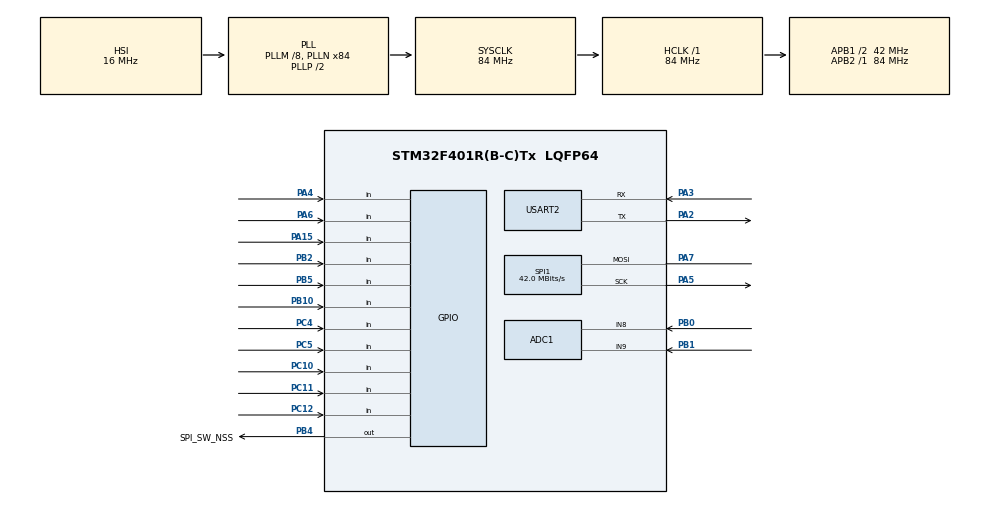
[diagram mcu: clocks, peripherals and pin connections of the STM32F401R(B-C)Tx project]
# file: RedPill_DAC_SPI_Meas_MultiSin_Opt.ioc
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ADC1.Channel-1\#ChannelRegularConversion=ADC_CHANNEL_8
ADC1.Channel-2\#ChannelRegularConversion=ADC_CHANNEL_9
ADC1.ClockPrescaler=ADC_CLOCK_SYNC_PCLK_DIV4
ADC1.DMAContinuousRequests=ENABLE
ADC1.ExternalTrigConv=ADC_EXTERNALTRIGCONV_T3_TRGO
ADC1.NbrOfConversion=2
ADC1.NbrOfConversionFlag=1
ADC1.Rank-1\#ChannelRegularConversion=1
ADC1.Rank-2\#ChannelRegularConversion=2
ADC1.SamplingTime-1\#ChannelRegularConversion=ADC_SAMPLETIME_3CYCLES
ADC1.SamplingTime-2\#ChannelRegularConversion=ADC_SAMPLETIME_3CYCLES
ADC1.ScanConvMode=ENABLE
ADC1.master=1
Dma.ADC1.0.Direction=DMA_PERIPH_TO_MEMORY
Dma.ADC1.0.FIFOMode=DMA_FIFOMODE_DISABLE
Dma.ADC1.0.Instance=DMA2_Stream4
Dma.ADC1.0.MemDataAlignment=DMA_MDATAALIGN_WORD
Dma.ADC1.0.MemInc=DMA_MINC_ENABLE
Dma.ADC1.0.Mode=DMA_CIRCULAR
Dma.ADC1.0.PeriphDataAlignment=DMA_PDATAALIGN_WORD
Dma.ADC1.0.PeriphInc=DMA_PINC_DISABLE
Dma.ADC1.0.Priority=DMA_PRIORITY_HIGH
Dma.Request0=ADC1
Mcu.Family=STM32F4
Mcu.Name=STM32F401R(B-C)Tx
Mcu.Package=LQFP64
NVIC.DMA2_Stream4_IRQn=true\:1\:0\:true\:false\:true\:false\:true\:true
NVIC.PriorityGroup=NVIC_PRIORITYGROUP_4
NVIC.SPI1_IRQn=true\:3\:0\:true\:false\:true\:true\:true\:true
NVIC.TIM2_IRQn=true\:4\:0\:true\:false\:true\:true\:true\:true
PA13.Mode=Serial_Wire
PA13.Signal=SYS_JTMS-SWDIO
PA14.Mode=Serial_Wire
PA14.Signal=SYS_JTCK-SWCLK
PA15.GPIO_PuPd=GPIO_NOPULL
PA15.Signal=GPIO_Input
PA2.Mode=Asynchronous
PA2.Signal=USART2_TX
PA3.Mode=Asynchronous
PA3.Signal=USART2_RX
PA4.Signal=GPIO_Input
PA5.Mode=Simplex_Bidirectional_Master
PA5.Signal=SPI1_SCK
PA6.Signal=GPIO_Input
PA7.Mode=Simplex_Bidirectional_Master
PA7.Signal=SPI1_MOSI
PB0.Signal=ADCx_IN8
PB1.Signal=ADCx_IN9
PB10.Signal=GPIO_Input
PB2.Signal=GPIO_Input
PB4.GPIO_Label=SPI_SW_NSS
PB4.GPIO_Speed=GPIO_SPEED_FREQ_LOW
PB4.Signal=GPIO_Output
PB5.Signal=GPIO_Input
PC10.GPIO_PuPd=GPIO_NOPULL
PC10.Signal=GPIO_Input
PC11.Signal=GPIO_Input
PC12.Signal=GPIO_Input
PC4.Signal=GPIO_Input
PC5.Signal=GPIO_Input
PH0\ -\ OSC_IN.Mode=HSE-External-Oscillator
PH0\ -\ OSC_IN.Signal=RCC_OSC_IN
PH1\ -\ OSC_OUT.Mode=HSE-External-Oscillator
PH1\ -\ OSC_OUT.Signal=RCC_OSC_OUT
ProjectManager.HeapSize=0x200
ProjectManager.StackSize=0x400
ProjectManager.TargetToolchain=EWARM V8.50
RCC.48MHZClocksFreq_Value=42000000
RCC.AHBFreq_Value=84000000
RCC.APB1CLKDivider=RCC_HCLK_DIV2
RCC.APB1Freq_Value=42000000
RCC.APB1TimFreq_Value=84000000
RCC.APB2Freq_Value=84000000
RCC.APB2TimFreq_Value=84000000
RCC.CortexFreq_Value=84000000
RCC.HCLKFreq_Value=84000000
RCC.HSE_VALUE=16000000
RCC.HSI_VALUE=16000000
RCC.LSE_VALUE=32768
RCC.PLLM=8
RCC.PLLN=84
RCC.SYSCLKFreq_VALUE=84000000
RCC.SYSCLKSource=RCC_SYSCLKSOURCE_PLLCLK
RCC.VCOOutputFreq_Value=168000000
SH.ADCx_IN8.0=ADC1_IN8,IN8
SH.ADCx_IN9.0=ADC1_IN9,IN9
SPI1.BaudRatePrescaler=SPI_BAUDRATEPRESCALER_2
SPI1.CLKPolarity=SPI_POLARITY_HIGH
SPI1.CalculateBaudRate=42.0 MBits/s
SPI1.DataSize=SPI_DATASIZE_8BIT
SPI1.Direction=SPI_DIRECTION_1LINE
SPI1.Mode=SPI_MODE_MASTER
SPI1.TIMode=SPI_TIMODE_DISABLE
SPI1.VirtualType=VM_MASTER
STMicroelectronics.X-CUBE-ALGOBUILD.1.3.0.LibraryCcDSPOoLibraryJjDSPOoLibrary=true
TIM2.ClockDivision=TIM_CLOCKDIVISION_DIV1
TIM2.Period=0
TIM2.Prescaler=21
TIM3.ClockDivision=TIM_CLOCKDIVISION_DIV1
TIM3.Period=99
TIM3.Prescaler=83
TIM3.TIM_MasterOutputTrigger=TIM_TRGO_UPDATE
USART2.VirtualMode=VM_ASYNC
VP_STMicroelectronics.X-CUBE-ALGOBUILD_VS_DSPOoLibraryJjLibrary_1.3.0_1.3.0.Mode=DSPOoLibraryJjLibrary
VP_TIM2_VS_ClockSourceINT.Mode=Internal
VP_TIM3_VS_ClockSourceINT.Mode=Internal
board=custom

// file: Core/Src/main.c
/* USER CODE BEGIN Header */
/**
  ******************************************************************************
  * @file           : main.c
  * @brief          : Main program body
  ******************************************************************************
  * @attention
  *
  * Copyright (c) 2024 STMicroelectronics.
  * All rights reserved.
  *
  * This software is licensed under terms that can be found in the LICENSE file
  * in the root directory of this software component.
  * If no LICENSE file comes with this software, it is provided AS-IS.
  *
  ******************************************************************************
  */
/* USER CODE END Header */
#include "main.h"

/* USER CODE BEGIN Includes */
#include "stdio.h"
#include "arm_math.h"
/* USER CODE END Includes */

/* USER CODE BEGIN PTD */

typedef struct
{
    GPIO_TypeDef* DacCsPort;
	uint16_t DacCsPin;
	SPI_HandleTypeDef *spi_port;
	uint32_t spi_clock_speed;
} DAC_Handle;

/* USER CODE END PTD */

/* USER CODE BEGIN PD */

/* ADC Defines */
#define VREF         (3.3)
#define ADC_MAX_RESULT  ((1 << 12)) // 10 bit ADC

/* Global Defines */
#define REF_RESISTANCE   (1000.0L)

/* LSM Defines */
#define NUM_OF_SAMPLES   (450U)
#define NUM_LSM_PARAMS   (5U)

/* FFT Defines */
#define FFT_BUFFER_SIZE   (2048U)

/* DAC register defines begin */
#define REG4_DIVGAIN  ((uint8_t)0x04)
#define REG5_RESET    ((uint8_t)0x05)
#define REG8_DAC      ((uint8_t)0x08)
#define REG3_CON      ((uint8_t)0x03)
#define REG2_SYNC     ((uint8_t)0x02)

#define SET5_RESET_1 ((uint8_t)0x0A)
#define SET5_RESET_2 ((uint8_t)0x00)

#define SET3_CON_1 ((uint8_t)0x00)
#define SET3_CON_2 ((uint8_t)0x01)

#define SET2_SYNC_1 ((uint8_t)0x00)
#define SET2_SYNC_2 ((uint8_t)0x00)

#define SET4_GAIN1 ((uint8_t)0x00)
#define SET4_GAIN2 ((uint8_t)0x01)
#define SET4_DIV1  ((uint8_t)0x00)
#define SET4_DIV2  ((uint8_t)0x01)
/* DAC register defines end */

/* DAC config defines begin */
#define NUM_OF_SAMPLES_DAC ((uint16_t)1000)
#define SPI_TIMEOUT        (10U)
#define MCU_CLOCK          (84000000U)
/* DAC config defines end */

/* USER CODE END PD */

/* USER CODE BEGIN PM */

enum ImpedanceType {
  LR_SERIES,
  LR_PARALLEL,
  CR_SERIES,
  CR_PARALLEL
};

/* USER CODE END PM */

ADC_HandleTypeDef hadc1;
DMA_HandleTypeDef hdma_adc1;

SPI_HandleTypeDef hspi1;

TIM_HandleTypeDef htim2;
TIM_HandleTypeDef htim3;

UART_HandleTypeDef huart2;

/* USER CODE BEGIN PV */

/* DAC variables */
DAC_Handle dacHandle;

/* Defs to variables, Configuring DAC */
uint8_t dacResetRegData[3] = {REG5_RESET,SET5_RESET_2,SET5_RESET_1}; // Fix
uint8_t dacDivGainRegData[3] = {REG4_DIVGAIN,SET4_DIV2,SET4_GAIN2}; // Can be set
uint8_t dacConfigRefRegData[3] = {REG3_CON,SET3_CON_2,SET3_CON_1}; // Fix
uint8_t dacSyncRegData[3] = {REG2_SYNC,SET2_SYNC_2,SET2_SYNC_1}; // Fix
/* DAC config variables end */

/* Data to send - Multisine: 1 Hz (0.7/2 V)+ 10 Hz (0.3/2 V)*/

uint8_t sinBuffer[2*NUM_OF_SAMPLES_DAC] = {
#include "dacMultiSine.txt"
};

volatile uint8_t sinBufferTemp[3] = {REG8_DAC,0x00,0x00};
volatile uint8_t sinBufferSwitch = 0;
volatile uint16_t sinCounter = 0;
volatile uint8_t sinDataCounter = 0;
/* Signal generation variables end */

/* Measurement variables begin */
// LSM matrices
float32_t mat_DT[NUM_LSM_PARAMS][NUM_OF_SAMPLES]; //calculating
float32_t mat_DT_D[NUM_LSM_PARAMS][NUM_LSM_PARAMS]; //calculating
float32_t mat_DT_D_inv[NUM_LSM_PARAMS][NUM_LSM_PARAMS]; //calculating
float32_t vect_ref_sig[NUM_OF_SAMPLES][1];
float32_t vect_input_sig[NUM_OF_SAMPLES][1];
float32_t vect_ref_lsm[NUM_LSM_PARAMS][1];
float32_t vect_input_lsm[NUM_LSM_PARAMS][1];
float32_t lsm_temp[NUM_LSM_PARAMS][1];

arm_matrix_instance_f32 mat_DT_instance; //calculating
arm_matrix_instance_f32 mat_DT_D_instance; //calculating
arm_matrix_instance_f32 mat_DT_D_inv_instance; //calculating
arm_matrix_instance_f32 vect_ref_instance;
arm_matrix_instance_f32 vect_input_instance;
arm_matrix_instance_f32 vect_ref_lsm_instance;
arm_matrix_instance_f32 vect_input_lsm_instance;
arm_matrix_instance_f32 lsm_temp_instance;

arm_status arm_mult_ref;
arm_status arm_mult_input;
arm_status arm_inverse;

// LSM result - For two sines
float32_t ref_sig_amp_1 = 0;
float32_t input_sig_amp_1 = 0;
float32_t ref_sig_phase_1 = 0;
float32_t input_sig_phase_1 = 0;

float32_t ref_sig_amp_2 = 0;
float32_t input_sig_amp_2 = 0;
float32_t ref_sig_phase_2 = 0;
float32_t input_sig_phase_2 = 0;

// ADC variables
uint32_t adc_values[NUM_OF_SAMPLES * 2];
volatile uint8_t ADC_FLAG_STATE_FSM = 0;

// Calculated variables - for two sines
float32_t phaseShift_1 = (0UL);
float32_t realImp_1 = (0UL);
float32_t imagImp_1 = (0UL);
float32_t absImp_1 = (0UL);
float32_t impedance_sig_amp_1 = 0;
float32_t impedance_sig_phase_1 = 0;

float32_t phaseShift_2 = (0UL);
float32_t realImp_2 = (0UL);
float32_t imagImp_2 = (0UL);
float32_t absImp_2 = (0UL);
float32_t impedance_sig_amp_2 = 0;
float32_t impedance_sig_phase_2 = 0;
float32_t resistance_1 = 0.0;
float32_t reactance_1 = 0.0;
float32_t resistance_2 = 0.0;
float32_t reactance_2 = 0.0;

// FFT variables
arm_rfft_fast_instance_f32 fftHandler;
uint32_t fftBuffIn[FFT_BUFFER_SIZE*2];
float32_t fftBuffInVolts[FFT_BUFFER_SIZE*2];
float32_t fftBuffOut[FFT_BUFFER_SIZE];
float32_t fftBuffAbs[FFT_BUFFER_SIZE/2];
float32_t peakVal = 0.0f;
uint16_t peakHz = 0;
float32_t peakHzCorrected = 0.0;

uint16_t freqIndex = 0;
uint16_t freqIndexPeak_1 = 0;
uint16_t freqIndexPeak_2 = 0;
uint16_t k = 0;
float32_t curVal = 0;
float32_t delta = 0;
uint8_t FFT_FLAG = 1;

float32_t SIGNAL_FREQ_1 = 15.0;
float32_t SIGNAL_FREQ_2 = 15.0;
uint32_t SAMPLING_FREQ = 0; // --> Should be set properly, according to the CubeMX settings!!!

/* Measurement variables end */

/* Config variables begin */
uint8_t send_serial = 1; // send on serial or not
volatile uint8_t  send_data = 0;
uint16_t data_ind = 0; // insted of i in main for loop, to live watch
enum ImpedanceType imp_type = CR_SERIES;
/* Config variables end */

/* USER CODE END PV */

void SystemClock_Config(void);
static void MX_GPIO_Init(void);
static void MX_DMA_Init(void);
static void MX_SPI1_Init(void);
static void MX_ADC1_Init(void);
static void MX_TIM3_Init(void);
static void MX_TIM2_Init(void);
static void MX_USART2_UART_Init(void);
/* USER CODE BEGIN PFP */

void dacBegin(DAC_Handle *dac, SPI_HandleTypeDef *port, GPIO_TypeDef* cs_port, uint16_t cs_pin, uint32_t cspeed);
void writeREG(DAC_Handle *dac, uint8_t *command);
void writeDAC(DAC_Handle *dac, uint8_t *data);
void setClockSpeed(DAC_Handle *dac, uint32_t cspeed);

/* USER CODE END PFP */

/* USER CODE BEGIN 0 */

/* Redirect printf to UASRT2, redefine __write */
size_t __write_own(int handle, const unsigned char * buffer, size_t size)
{
  size_t nChars = 0;

  if (buffer == 0)
  {
    /*
     * This means that we should flush internal buffers.  Since we
     * don't we just return.  (Remember, "handle" == -1 means that all
     * handles should be flushed.)
     */
    return 0;
  }

  for (/* Empty */; size != 0; --size)
  {
    HAL_UART_Transmit(&huart2, (uint8_t*) (buffer), 1, HAL_MAX_DELAY);
    buffer++;
    ++nChars;
  }

  return nChars;

}

/* DAC handling functions begin*/
void dacBegin(DAC_Handle *dac, SPI_HandleTypeDef *port, GPIO_TypeDef* cs_port, uint16_t cs_pin, uint32_t cspeed)
{
  dac->DacCsPort = cs_port;
  dac->DacCsPin = cs_pin;
  dac->spi_port = port;
  dac->spi_clock_speed = cspeed;
}

void setClockSpeed(DAC_Handle *dac, uint32_t cspeed)
{
	dac->spi_clock_speed = cspeed;
}

void writeREG(DAC_Handle *dac, uint8_t* command)
{
	HAL_GPIO_WritePin(dac->DacCsPort, dac->DacCsPin, GPIO_PIN_SET); //SW NSS
        HAL_Delay(1);
  	HAL_GPIO_WritePin(dac->DacCsPort, dac->DacCsPin, GPIO_PIN_RESET); //SW NSS
  	while(HAL_SPI_GetState(dac->spi_port) != HAL_SPI_STATE_READY){}
  	HAL_SPI_Transmit(dac->spi_port, (uint8_t*) (command), 3, SPI_TIMEOUT);
        HAL_Delay(1);
  	HAL_GPIO_WritePin(dac->DacCsPort, dac->DacCsPin, GPIO_PIN_SET); //SW NSS
}

void writeDAC(DAC_Handle *dac, uint8_t* data)
{
	while(HAL_SPI_GetState(dac->spi_port) != HAL_SPI_STATE_READY){}
        HAL_GPIO_WritePin(dac->DacCsPort, dac->DacCsPin, GPIO_PIN_RESET); //SW NSS
        HAL_SPI_Transmit(dac->spi_port, (uint8_t*) (data), 3, SPI_TIMEOUT);
        HAL_GPIO_WritePin(dac->DacCsPort, dac->DacCsPin, GPIO_PIN_SET); //SW NSS

}
/* DAC handling functions end*/

/* ADC conversion to Volts */
float32_t ADC_convertSampleToVolts(uint16_t sample) {
	// The measured voltage applied to P1.7 is given by:
	//
	//                           Vref (mV)
	//   measurement (mV) =   --------------- * result (bits)
	//                       (2^12) (bits)
	return ((float32_t) sample * VREF) / ADC_MAX_RESULT;
}

/* Measurement functions begin */
void fill_mat_DT_D() {
	int i = 0;

	/* 5x5 D'*D matrix elements */
	float32_t cos1_sum = 0.0;
	float32_t cos1_square_sum = 0.0;
	float32_t sin1_sum = 0.0;
	float32_t sin1_square_sum = 0.0;
	float32_t cos2_sum = 0.0;
	float32_t cos2_square_sum = 0.0;
	float32_t sin2_sum = 0.0;
	float32_t sin2_square_sum = 0.0;

	float32_t cos1_sin1_sum = 0.0;
	float32_t cos1_sin2_sum = 0.0;
	float32_t cos2_sin1_sum = 0.0;
	float32_t cos2_sin2_sum = 0.0;

	float32_t cos1_cos2_sum = 0.0;
	float32_t sin1_sin2_sum = 0.0;

	float32_t temp_cos_1 = 0.0;
	float32_t temp_sin_1 = 0.0;
	float32_t temp_cos_2 = 0.0;
	float32_t temp_sin_2 = 0.0;

	for (i = 0; i < NUM_OF_SAMPLES; i++) {
		temp_cos_1 = (float32_t) (cos(2.0 * PI * SIGNAL_FREQ_1 * (((double) i) / (double)SAMPLING_FREQ)));
		temp_sin_1 = (float32_t) (sin(2.0 * PI * SIGNAL_FREQ_1 * (((double) i) / (double)SAMPLING_FREQ)));
		temp_cos_2 = (float32_t) (cos(2.0 * PI * SIGNAL_FREQ_2 * (((double) i) / (double)SAMPLING_FREQ)));
		temp_sin_2 = (float32_t) (sin(2.0 * PI * SIGNAL_FREQ_2 * (((double) i) / (double)SAMPLING_FREQ)));

		/* Diagonal and last row */
		cos1_sum = cos1_sum + temp_cos_1;
		cos1_square_sum = cos1_square_sum + temp_cos_1*temp_cos_1;
		sin1_sum = sin1_sum + temp_sin_1;
		sin1_square_sum = sin1_square_sum + temp_sin_1*temp_sin_1;
		cos2_sum = cos2_sum + temp_cos_2;
		cos2_square_sum = cos2_square_sum + temp_cos_2*temp_cos_2;
		sin2_sum = sin2_sum + temp_sin_2;
		sin2_square_sum = sin2_square_sum + temp_sin_2*temp_sin_2;

		/* Above the main diagonal */
		cos1_sin1_sum = cos1_sin1_sum + temp_cos_1*temp_sin_1;
		cos1_sin2_sum = cos1_sin2_sum + temp_cos_1*temp_sin_2;
		cos2_sin1_sum = cos2_sin1_sum + temp_cos_2*temp_sin_1;
		cos2_sin2_sum = cos2_sin2_sum + temp_cos_2*temp_sin_2;

		cos1_cos2_sum = cos1_cos2_sum + temp_cos_1*temp_cos_2;
		sin1_sin2_sum = sin1_sin2_sum + temp_sin_1*temp_sin_2;

		/* Init D' for multipling it with the measured signal */
		mat_DT[0][i] = (float32_t) temp_cos_1;
		mat_DT[1][i] = (float32_t) temp_sin_1;
		mat_DT[2][i] = (float32_t) temp_cos_2;
		mat_DT[3][i] = (float32_t) temp_sin_2;
		mat_DT[4][i] = (float32_t) 1;
	}

	mat_DT_D[0][0] = cos1_square_sum;
	mat_DT_D[0][1] = cos1_sin1_sum;
	mat_DT_D[0][2] = cos1_cos2_sum;
	mat_DT_D[0][3] = cos1_sin2_sum;
	mat_DT_D[0][4] = cos1_sum;

	mat_DT_D[1][0] = cos1_sin1_sum;
	mat_DT_D[1][1] = sin1_square_sum;
	mat_DT_D[1][2] = cos2_sin1_sum;
	mat_DT_D[1][3] = sin1_sin2_sum;
	mat_DT_D[1][4] = sin1_sum;

	mat_DT_D[2][0] = cos1_cos2_sum;
	mat_DT_D[2][1] = cos2_sin1_sum;
	mat_DT_D[2][2] = cos2_square_sum;
	mat_DT_D[2][3] = cos2_sin2_sum;
	mat_DT_D[2][4] = cos2_sum;

	mat_DT_D[3][0] = cos1_sin2_sum;
	mat_DT_D[3][1] = sin1_sin2_sum;
	mat_DT_D[3][2] = cos2_sin2_sum;
	mat_DT_D[3][3] = sin2_square_sum;
	mat_DT_D[3][4] = sin2_sum;

	mat_DT_D[4][0] = cos1_sum;
	mat_DT_D[4][1] = sin1_sum;
	mat_DT_D[4][2] = cos2_sum;
	mat_DT_D[4][3] = sin2_sum;
	mat_DT_D[4][4] = NUM_OF_SAMPLES;

}

void init_vectors(){
	arm_mat_init_f32(&mat_DT_instance, NUM_LSM_PARAMS, NUM_OF_SAMPLES, &mat_DT[0][0]);
	arm_mat_init_f32(&mat_DT_D_instance, NUM_LSM_PARAMS, NUM_LSM_PARAMS, &mat_DT_D[0][0]);
	arm_mat_init_f32(&mat_DT_D_inv_instance, NUM_LSM_PARAMS, NUM_LSM_PARAMS, &mat_DT_D_inv[0][0]);

	arm_inverse = arm_mat_inverse_f32(&mat_DT_D_instance, &mat_DT_D_inv_instance);

	arm_mat_init_f32(&vect_ref_instance, NUM_OF_SAMPLES, 1, &vect_ref_sig[0][0]);
	arm_mat_init_f32(&vect_input_instance, NUM_OF_SAMPLES, 1, &vect_input_sig[0][0]);
	arm_mat_init_f32(&vect_ref_lsm_instance, NUM_LSM_PARAMS, 1, &vect_ref_lsm[0][0]);
	arm_mat_init_f32(&vect_input_lsm_instance, NUM_LSM_PARAMS, 1, &vect_input_lsm[0][0]);
	arm_mat_init_f32(&lsm_temp_instance, NUM_LSM_PARAMS, 1, &lsm_temp[0][0]);
}
/* Measurement functions end */

/* USER CODE END 0 */

int main(void)
{
  /* USER CODE BEGIN 1 */

  /* Without using buffer */
  //uint16_t u16sineTemp = 0;
  //uint8_t u8sineTempLSB = 0;
  //uint8_t u8sineTempMSB = 0;

  /* USER CODE END 1 */

  /* MCU Configuration--------------------------------------------------------*/

  /* Reset of all peripherals, Initializes the Flash interface and the Systick. */
  HAL_Init();

  /* Configure the system clock */
  SystemClock_Config();

  /* Initialize all configured peripherals */
  MX_GPIO_Init();
  MX_DMA_Init();
  MX_SPI1_Init();
  MX_ADC1_Init();
  MX_TIM3_Init();
  MX_TIM2_Init();
  MX_USART2_UART_Init();
  /* USER CODE BEGIN 2 */

  /* Calculate the sampling freq from registers and oscillator freq */
  SAMPLING_FREQ = ((uint32_t)MCU_CLOCK)/((htim3.Init.Prescaler+1)*(htim3.Init.Period+1)); // 1 kHz sampling freq is too high for this settings

  /* Initializing DAC */
  dacBegin(&dacHandle, &hspi1, SPI_SW_NSS_GPIO_Port, SPI_SW_NSS_Pin,(uint32_t)500000); // 16 Mhz Oscillator - 8 Mhz CLK - 16 SPI prescaler = 500 kHz

  // setREG5_Reset, Soft Reset
  writeREG(&dacHandle, (uint8_t*)(&dacResetRegData));
  HAL_Delay(100);

  // setREG4_DivGain, DIV = 2, GAIN = 2
  writeREG(&dacHandle, (uint8_t*)(&dacDivGainRegData));
  HAL_Delay(100);

  // setREG3_Internal_Ref_Off
  writeREG(&dacHandle, (uint8_t*)(&dacConfigRefRegData));
  HAL_Delay(100);

  // setREG2_SyncMode_Off
  writeREG(&dacHandle, (uint8_t*)(&dacSyncRegData));
  HAL_Delay(100);

  /* Start TIM2(LL for DAC sine) and TIM3(for ADC), init FFT vector and start DMA for FFT */
  /* Start TIM2 for sending data*/
  arm_rfft_fast_init_f32(&fftHandler, FFT_BUFFER_SIZE);
  send_data = 1;
  HAL_TIM_Base_Init(&htim3);
  HAL_TIM_Base_Start(&htim3);
  HAL_ADC_Start_DMA(&hadc1, fftBuffIn, FFT_BUFFER_SIZE*2); // Start DMA for FFT
  /* ADC with DMA must be init and started before TIM2 IT-s, because they interrupt the init method!!!! */
  HAL_TIM_Base_Init(&htim2);
  HAL_TIM_Base_Start_IT(&htim2);

  /* USER CODE END 2 */

  /* Infinite loop */
  while (1)
  {

    /* USER CODE BEGIN 3 */

	/* Processing signals */
	if (ADC_FLAG_STATE_FSM == 1) {
		// Reset state machine
		ADC_FLAG_STATE_FSM = 0;

		// Calculate freq
		if (FFT_FLAG == 1) {
			for (int i = 0; i < FFT_BUFFER_SIZE; i++) {
				fftBuffInVolts[i] = ADC_convertSampleToVolts((uint16_t) (fftBuffIn[2 * i]));
				//printf("ADC1:%.5f,ADC3:%.5f,ADCdiff:%.5f\r\n",fftBuffInVolts[i],0,0);
                                //printf("%.5f\r\n",fftBuffInVolts[i]);
			}

			/* FFT - detecting two frequencies */
			peakVal = 0.0f;
			peakHz = 0;
			freqIndex = 0;
			arm_rfft_fast_f32(&fftHandler, fftBuffInVolts, fftBuffOut, 0);

			/* Detecting first component */
			for (uint16_t i = 0; i < FFT_BUFFER_SIZE-2; i+=2){

				curVal = (float32_t)(sqrt((double)(fftBuffOut[i]*fftBuffOut[i])+(double)(fftBuffOut[i+1]*fftBuffOut[i+1]))/FFT_BUFFER_SIZE*2); // Calculating the amplitude characteristics
				fftBuffAbs[freqIndex] = curVal;
				if ((curVal > peakVal)&&(i>0)){
					peakVal = curVal;
					freqIndexPeak_1 = freqIndex;
					//peakHz = (uint16_t)(freqIndex * SAMPLING_FREQ/((float32_t)FFT_BUFFER_SIZE)); // We don't need it!
				}
				freqIndex++;
			}
			fftBuffAbs[0] = fftBuffAbs[0]/2; // For the single sided FFT, but we do not need it.

			/* Detecting the second component */
			peakVal = 0.0f;
			for (uint16_t i = 1; i < FFT_BUFFER_SIZE; i++){ // Skip DC? Start from i = 1 (in the abs)
				if ((fftBuffAbs[i] > peakVal)&&(i != freqIndexPeak_1)){
					peakVal = fftBuffAbs[i];
					freqIndexPeak_2 = i;
					//peakHz = (uint16_t)(freqIndex * SAMPLING_FREQ/((float32_t)FFT_BUFFER_SIZE));
				}
			}

			/* Correcting the first freq (Jacobsen (3)) */
			k = freqIndexPeak_1;
			delta = -((fftBuffOut[2*(k+1)]-fftBuffOut[2*(k-1)])*(2*fftBuffOut[2*k]-fftBuffOut[2*(k-1)]-fftBuffOut[2*(k+1)])
							+ (fftBuffOut[2*(k+1)+1]-fftBuffOut[2*(k-1)+1])*(2*fftBuffOut[2*k+1]-fftBuffOut[2*(k-1)+1]-fftBuffOut[2*(k+1)+1]))
									/(float32_t)(pow((double)(2*fftBuffOut[2*k]-fftBuffOut[2*(k-1)]-fftBuffOut[2*(k+1)]),2)+(float32_t)pow((double)(2*fftBuffOut[2*k+1]-fftBuffOut[2*(k-1)+1]-fftBuffOut[2*(k+1)+1]),2));
			peakHzCorrected = ((float32_t)freqIndexPeak_1 + (float32_t)(delta))*((float32_t)SAMPLING_FREQ)/((float32_t)FFT_BUFFER_SIZE);
			SIGNAL_FREQ_1 = peakHzCorrected;

			/* Correcting the second freq (Jacobsen (3)) */
			k = freqIndexPeak_2;
			delta = -((fftBuffOut[2*(k+1)]-fftBuffOut[2*(k-1)])*(2*fftBuffOut[2*k]-fftBuffOut[2*(k-1)]-fftBuffOut[2*(k+1)])
							+ (fftBuffOut[2*(k+1)+1]-fftBuffOut[2*(k-1)+1])*(2*fftBuffOut[2*k+1]-fftBuffOut[2*(k-1)+1]-fftBuffOut[2*(k+1)+1]))
									/((float32_t)pow((double)(2*fftBuffOut[2*k]-fftBuffOut[2*(k-1)]-fftBuffOut[2*(k+1)]),2)+(float32_t)pow((double)(2*fftBuffOut[2*k+1]-fftBuffOut[2*(k-1)+1]-fftBuffOut[2*(k+1)+1]),2));
			peakHzCorrected = ((float32_t)freqIndexPeak_2 + (float32_t)(delta))*((float32_t)SAMPLING_FREQ)/((float32_t)FFT_BUFFER_SIZE);
			SIGNAL_FREQ_2 = peakHzCorrected;

			fill_mat_DT_D(); // initialize (D'*D)^-1*D'
			init_vectors(); // init LSM matrices
			HAL_ADC_Start_DMA(&hadc1, adc_values, NUM_OF_SAMPLES * 2); // start DMA for processing
			FFT_FLAG=0; // end calculating freq
			__enable_irq();
		}

		// processing signals
		if (FFT_FLAG == 0) {
			for (data_ind = 0; data_ind < NUM_OF_SAMPLES; data_ind++) {
				vect_input_sig[data_ind][0] = ADC_convertSampleToVolts((uint16_t) (adc_values[2 * data_ind]));
				vect_ref_sig[data_ind][0] = ADC_convertSampleToVolts((uint16_t) (adc_values[2 * data_ind + 1]));
				/*if (send_serial){
                                  printf("%.5f,%.5f\r\n",(vect_input_sig[data_ind][0]),vect_ref_sig[data_ind][0]);
				} */
			}

			// (DT*D)^-1 multiplication with (DT*sig) - with temporary variable
			arm_mat_mult_f32(&mat_DT_instance, &vect_ref_instance, &lsm_temp_instance);
			arm_mult_ref = arm_mat_mult_f32(&mat_DT_D_inv_instance, &lsm_temp_instance, &vect_ref_lsm_instance);
			arm_mat_mult_f32(&mat_DT_instance, &vect_input_instance, &lsm_temp_instance);
			arm_mult_input = arm_mat_mult_f32(&mat_DT_D_inv_instance, &lsm_temp_instance, &vect_input_lsm_instance);

			if ((arm_mult_ref != ARM_MATH_SUCCESS)|| (arm_mult_input != ARM_MATH_SUCCESS)) {
				printf("Multiplication error!");
			} else {
				/* For 2 components! */
				ref_sig_amp_1 = (float32_t)(sqrt(pow(vect_ref_lsm[0][0], 2) + pow(vect_ref_lsm[1][0], 2)));
				ref_sig_phase_1 = (float32_t)(atan2(-vect_ref_lsm[1][0], vect_ref_lsm[0][0]) + PI / 2);
				ref_sig_amp_2 = (float32_t)(sqrt(pow(vect_ref_lsm[2][0], 2) + pow(vect_ref_lsm[3][0], 2)));
				ref_sig_phase_2 = (float32_t)(atan2(-vect_ref_lsm[3][0], vect_ref_lsm[2][0]) + PI / 2);

				input_sig_amp_1 = (float32_t)(sqrt(pow(vect_input_lsm[0][0], 2) + pow(vect_input_lsm[1][0], 2)));
				input_sig_phase_1 = (float32_t)(atan2(-vect_input_lsm[1][0], vect_input_lsm[0][0]) + PI / 2);
				input_sig_amp_2 = (float32_t)(sqrt(pow(vect_input_lsm[2][0], 2) + pow(vect_input_lsm[3][0], 2)));
				input_sig_phase_2 = (float32_t)(atan2(-vect_input_lsm[3][0], vect_input_lsm[2][0]) + PI / 2);

				impedance_sig_amp_1 = (float32_t)(sqrt(pow((double)ref_sig_amp_1, 2) + pow((double)input_sig_amp_1, 2) - 2 * (double)ref_sig_amp_1 * (double)input_sig_amp_1 * cos((double)(input_sig_phase_1 - ref_sig_phase_1))));
				impedance_sig_amp_2 = (float32_t)(sqrt(pow((double)ref_sig_amp_2, 2) + pow((double)input_sig_amp_2, 2) - 2 * (double)ref_sig_amp_2 * (double)input_sig_amp_2 * cos((double)(input_sig_phase_2 - ref_sig_phase_2))));
				impedance_sig_phase_1 = atan2((input_sig_amp_1 * sin(input_sig_phase_1) - ref_sig_amp_1 * sin(ref_sig_phase_1)),(input_sig_amp_1 * cos(input_sig_phase_1) - ref_sig_amp_1 * cos(ref_sig_phase_1)));
				impedance_sig_phase_2 = atan2((input_sig_amp_2 * sin(input_sig_phase_2) - ref_sig_amp_2 * sin(ref_sig_phase_2)),(input_sig_amp_2 * cos(input_sig_phase_2) - ref_sig_amp_2 * cos(ref_sig_phase_2)));

				absImp_1 = impedance_sig_amp_1 / ref_sig_amp_1 * REF_RESISTANCE;
				phaseShift_1 =  impedance_sig_phase_1 - ref_sig_phase_1;
				realImp_1 = absImp_1*cos(phaseShift_1);
				imagImp_1 = absImp_1*sin(phaseShift_1);

				absImp_2 = impedance_sig_amp_2 / ref_sig_amp_2 * REF_RESISTANCE;
				phaseShift_2 =  impedance_sig_phase_2 - ref_sig_phase_2;
				realImp_2 = absImp_2*cos(phaseShift_2);
				imagImp_2 = absImp_2*sin(phaseShift_2);

                                /* Print the measured components to serial - according to the selected type.  */
				if (send_serial){
                                    switch (imp_type){
                                      case LR_SERIES:
                                        resistance_1 = realImp_1;
                                        reactance_1 = (float32_t)(imagImp_1/(2*PI*SIGNAL_FREQ_1));
                                        resistance_2 = realImp_2;
                                        reactance_2 = (float32_t)(imagImp_2/(2*PI*SIGNAL_FREQ_2));
                                        //printf("fs=%d f1=%.3f R=%.6f L=%.6f, f2=%.3f R=%.6f L=%.6f\r\n",SAMPLING_FREQ,SIGNAL_FREQ_1,resistance_1,reactance_1, SIGNAL_FREQ_2,resistance_2,reactance_2);
                                        printf("%d,%.3f,%.6f,%.6f,%.3f,%.6f,%.6f\r\n",SAMPLING_FREQ,SIGNAL_FREQ_1,resistance_1,reactance_1, SIGNAL_FREQ_2,resistance_2,reactance_2);
                                        break;
                                      case LR_PARALLEL:
                                        resistance_1 = absImp_1*sqrt(1+pow(tan(phaseShift_1),2));
                                        reactance_1 = resistance_1/(2*PI*SIGNAL_FREQ_1*(float32_t)tan(phaseShift_1));
                                        resistance_2 = absImp_2*sqrt(1+pow(tan(phaseShift_2),2));;
                                        reactance_2 = resistance_2/(2*PI*SIGNAL_FREQ_2*(float32_t)tan(phaseShift_2));
                                        //printf("fs=%d f1=%.3f R=%.6f L=%.6f, f2=%.3f R=%.6f L=%.6f\r\n",SAMPLING_FREQ,SIGNAL_FREQ_1,resistance_1,reactance_1, SIGNAL_FREQ_2,resistance_2,reactance_2);
                                        printf("%d,%.3f,%.6f,%.6f,%.3f,%.6f,%.6f\r\n",SAMPLING_FREQ,SIGNAL_FREQ_1,resistance_1,reactance_1, SIGNAL_FREQ_2,resistance_2,reactance_2);
                                        break;
                                      case CR_SERIES:
                                        resistance_1 = realImp_1;
                                        reactance_1 = (float32_t)(1/(imagImp_1*2*PI*SIGNAL_FREQ_1));
                                        resistance_2 = realImp_2;
                                        reactance_2 = (float32_t)(1/(imagImp_2*2*PI*SIGNAL_FREQ_1));
                                        //printf("fs=%d f1=%.3f R=%.6f L=%.6f, f2=%.3f R=%.6f L=%.6f\r\n",SAMPLING_FREQ,SIGNAL_FREQ_1,resistance_1,reactance_1, SIGNAL_FREQ_2,resistance_2,reactance_2);
                                        printf("%d,%.3f,%.6f,%.6f,%.3f,%.6f,%.6f\r\n",SAMPLING_FREQ,SIGNAL_FREQ_1,resistance_1,reactance_1, SIGNAL_FREQ_2,resistance_2,reactance_2);
                                        break;
                                      case CR_PARALLEL:
                                        resistance_1 = absImp_1*sqrt(1+pow(tan(phaseShift_1),2));
                                        reactance_1 = ((float32_t)tan(phaseShift_1))/(2*PI*SIGNAL_FREQ_1*resistance_1);
                                        resistance_2 = absImp_2*sqrt(1+pow(tan(phaseShift_2),2));;
                                        reactance_2 = ((float32_t)tan(phaseShift_2))/(2*PI*SIGNAL_FREQ_2*resistance_2);
                                        //printf("fs=%d f1=%.3f R=%.6f L=%.6f, f2=%.3f R=%.6f L=%.6f\r\n",SAMPLING_FREQ,SIGNAL_FREQ_1,resistance_1,reactance_1, SIGNAL_FREQ_2,resistance_2,reactance_2);
                                        printf("%d,%.3f,%.6f,%.6f,%.3f,%.6f,%.6f\r\n",SAMPLING_FREQ,SIGNAL_FREQ_1,resistance_1,reactance_1, SIGNAL_FREQ_2,resistance_2,reactance_2);
                                        break;
                                    }
				}
			}
			HAL_ADC_Start_DMA(&hadc1, adc_values, NUM_OF_SAMPLES * 2);
			__enable_irq();
		}

	}

  }
  /* USER CODE END 3 */
}

void SystemClock_Config(void)
{
  RCC_OscInitTypeDef RCC_OscInitStruct = {0};
  RCC_ClkInitTypeDef RCC_ClkInitStruct = {0};

  /** Configure the main internal regulator output voltage
  */
  __HAL_RCC_PWR_CLK_ENABLE();
  __HAL_PWR_VOLTAGESCALING_CONFIG(PWR_REGULATOR_VOLTAGE_SCALE2);

  /** Initializes the RCC Oscillators according to the specified parameters
  * in the RCC_OscInitTypeDef structure.
  */
  RCC_OscInitStruct.OscillatorType = RCC_OSCILLATORTYPE_HSI;
  RCC_OscInitStruct.HSIState = RCC_HSI_ON;
  RCC_OscInitStruct.HSICalibrationValue = RCC_HSICALIBRATION_DEFAULT;
  RCC_OscInitStruct.PLL.PLLState = RCC_PLL_ON;
  RCC_OscInitStruct.PLL.PLLSource = RCC_PLLSOURCE_HSI;
  RCC_OscInitStruct.PLL.PLLM = 8;
  RCC_OscInitStruct.PLL.PLLN = 84;
  RCC_OscInitStruct.PLL.PLLP = RCC_PLLP_DIV2;
  RCC_OscInitStruct.PLL.PLLQ = 4;
  if (HAL_RCC_OscConfig(&RCC_OscInitStruct) != HAL_OK)
  {
    Error_Handler();
  }

  /** Initializes the CPU, AHB and APB buses clocks
  */
  RCC_ClkInitStruct.ClockType = RCC_CLOCKTYPE_HCLK|RCC_CLOCKTYPE_SYSCLK
                              |RCC_CLOCKTYPE_PCLK1|RCC_CLOCKTYPE_PCLK2;
  RCC_ClkInitStruct.SYSCLKSource = RCC_SYSCLKSOURCE_PLLCLK;
  RCC_ClkInitStruct.AHBCLKDivider = RCC_SYSCLK_DIV1;
  RCC_ClkInitStruct.APB1CLKDivider = RCC_HCLK_DIV2;
  RCC_ClkInitStruct.APB2CLKDivider = RCC_HCLK_DIV1;

  if (HAL_RCC_ClockConfig(&RCC_ClkInitStruct, FLASH_LATENCY_2) != HAL_OK)
  {
    Error_Handler();
  }
}

static void MX_ADC1_Init(void)
{

  ADC_ChannelConfTypeDef sConfig = {0};

  /** Configure the global features of the ADC (Clock, Resolution, Data Alignment and number of conversion)
  */
  hadc1.Instance = ADC1;
  hadc1.Init.ClockPrescaler = ADC_CLOCK_SYNC_PCLK_DIV4;
  hadc1.Init.Resolution = ADC_RESOLUTION_12B;
  hadc1.Init.ScanConvMode = ENABLE;
  hadc1.Init.ContinuousConvMode = DISABLE;
  hadc1.Init.DiscontinuousConvMode = DISABLE;
  hadc1.Init.ExternalTrigConvEdge = ADC_EXTERNALTRIGCONVEDGE_RISING;
  hadc1.Init.ExternalTrigConv = ADC_EXTERNALTRIGCONV_T3_TRGO;
  hadc1.Init.DataAlign = ADC_DATAALIGN_RIGHT;
  hadc1.Init.NbrOfConversion = 2;
  hadc1.Init.DMAContinuousRequests = ENABLE;
  hadc1.Init.EOCSelection = ADC_EOC_SINGLE_CONV;
  if (HAL_ADC_Init(&hadc1) != HAL_OK)
  {
    Error_Handler();
  }

  /** Configure for the selected ADC regular channel its corresponding rank in the sequencer and its sample time.
  */
  sConfig.Channel = ADC_CHANNEL_8;
  sConfig.Rank = 1;
  sConfig.SamplingTime = ADC_SAMPLETIME_3CYCLES;
  if (HAL_ADC_ConfigChannel(&hadc1, &sConfig) != HAL_OK)
  {
    Error_Handler();
  }

  /** Configure for the selected ADC regular channel its corresponding rank in the sequencer and its sample time.
  */
  sConfig.Channel = ADC_CHANNEL_9;
  sConfig.Rank = 2;
  if (HAL_ADC_ConfigChannel(&hadc1, &sConfig) != HAL_OK)
  {
    Error_Handler();
  }

}

static void MX_SPI1_Init(void)
{

  /* SPI1 parameter configuration*/
  hspi1.Instance = SPI1;
  hspi1.Init.Mode = SPI_MODE_MASTER;
  hspi1.Init.Direction = SPI_DIRECTION_1LINE;
  hspi1.Init.DataSize = SPI_DATASIZE_8BIT;
  hspi1.Init.CLKPolarity = SPI_POLARITY_HIGH;
  hspi1.Init.CLKPhase = SPI_PHASE_1EDGE;
  hspi1.Init.NSS = SPI_NSS_SOFT;
  hspi1.Init.BaudRatePrescaler = SPI_BAUDRATEPRESCALER_2;
  hspi1.Init.FirstBit = SPI_FIRSTBIT_MSB;
  hspi1.Init.TIMode = SPI_TIMODE_DISABLE;
  hspi1.Init.CRCCalculation = SPI_CRCCALCULATION_DISABLE;
  hspi1.Init.CRCPolynomial = 10;
  if (HAL_SPI_Init(&hspi1) != HAL_OK)
  {
    Error_Handler();
  }

}

static void MX_TIM2_Init(void)
{

  TIM_ClockConfigTypeDef sClockSourceConfig = {0};
  TIM_MasterConfigTypeDef sMasterConfig = {0};

  htim2.Instance = TIM2;
  htim2.Init.Prescaler = 83;
  htim2.Init.CounterMode = TIM_COUNTERMODE_UP;
  htim2.Init.Period = 999;
  htim2.Init.ClockDivision = TIM_CLOCKDIVISION_DIV1;
  htim2.Init.AutoReloadPreload = TIM_AUTORELOAD_PRELOAD_DISABLE;
  if (HAL_TIM_Base_Init(&htim2) != HAL_OK)
  {
    Error_Handler();
  }
  sClockSourceConfig.ClockSource = TIM_CLOCKSOURCE_INTERNAL;
  if (HAL_TIM_ConfigClockSource(&htim2, &sClockSourceConfig) != HAL_OK)
  {
    Error_Handler();
  }
  sMasterConfig.MasterOutputTrigger = TIM_TRGO_RESET;
  sMasterConfig.MasterSlaveMode = TIM_MASTERSLAVEMODE_DISABLE;
  if (HAL_TIMEx_MasterConfigSynchronization(&htim2, &sMasterConfig) != HAL_OK)
  {
    Error_Handler();
  }

}

static void MX_TIM3_Init(void)
{

  TIM_ClockConfigTypeDef sClockSourceConfig = {0};
  TIM_MasterConfigTypeDef sMasterConfig = {0};

  htim3.Instance = TIM3;
  htim3.Init.Prescaler = 83;
  htim3.Init.CounterMode = TIM_COUNTERMODE_UP;
  htim3.Init.Period = 999;
  htim3.Init.ClockDivision = TIM_CLOCKDIVISION_DIV1;
  htim3.Init.AutoReloadPreload = TIM_AUTORELOAD_PRELOAD_DISABLE;
  if (HAL_TIM_Base_Init(&htim3) != HAL_OK)
  {
    Error_Handler();
  }
  sClockSourceConfig.ClockSource = TIM_CLOCKSOURCE_INTERNAL;
  if (HAL_TIM_ConfigClockSource(&htim3, &sClockSourceConfig) != HAL_OK)
  {
    Error_Handler();
  }
  sMasterConfig.MasterOutputTrigger = TIM_TRGO_UPDATE;
  sMasterConfig.MasterSlaveMode = TIM_MASTERSLAVEMODE_DISABLE;
  if (HAL_TIMEx_MasterConfigSynchronization(&htim3, &sMasterConfig) != HAL_OK)
  {
    Error_Handler();
  }

}

static void MX_USART2_UART_Init(void)
{

  huart2.Instance = USART2;
  huart2.Init.BaudRate = 115200;
  huart2.Init.WordLength = UART_WORDLENGTH_8B;
  huart2.Init.StopBits = UART_STOPBITS_1;
  huart2.Init.Parity = UART_PARITY_NONE;
  huart2.Init.Mode = UART_MODE_TX_RX;
  huart2.Init.HwFlowCtl = UART_HWCONTROL_NONE;
  huart2.Init.OverSampling = UART_OVERSAMPLING_16;
  if (HAL_UART_Init(&huart2) != HAL_OK)
  {
    Error_Handler();
  }

}

static void MX_DMA_Init(void)
{

  /* DMA controller clock enable */
  __HAL_RCC_DMA2_CLK_ENABLE();

  /* DMA interrupt init */
  /* DMA2_Stream4_IRQn interrupt configuration */
  HAL_NVIC_SetPriority(DMA2_Stream4_IRQn, 1, 0);
  HAL_NVIC_EnableIRQ(DMA2_Stream4_IRQn);

}

static void MX_GPIO_Init(void)
{
  GPIO_InitTypeDef GPIO_InitStruct = {0};

  /* GPIO Ports Clock Enable */
  __HAL_RCC_GPIOH_CLK_ENABLE();
  __HAL_RCC_GPIOA_CLK_ENABLE();
  __HAL_RCC_GPIOC_CLK_ENABLE();
  __HAL_RCC_GPIOB_CLK_ENABLE();

  /*Configure GPIO pin Output Level */
  HAL_GPIO_WritePin(SPI_SW_NSS_GPIO_Port, SPI_SW_NSS_Pin, GPIO_PIN_RESET);

  /*Configure GPIO pins : PA4 PA6 PA15 */
  GPIO_InitStruct.Pin = GPIO_PIN_4|GPIO_PIN_6|GPIO_PIN_15;
  GPIO_InitStruct.Mode = GPIO_MODE_INPUT;
  GPIO_InitStruct.Pull = GPIO_NOPULL;
  HAL_GPIO_Init(GPIOA, &GPIO_InitStruct);

  /*Configure GPIO pins : PC4 PC5 PC10 PC11
                           PC12 */
  GPIO_InitStruct.Pin = GPIO_PIN_4|GPIO_PIN_5|GPIO_PIN_10|GPIO_PIN_11
                          |GPIO_PIN_12;
  GPIO_InitStruct.Mode = GPIO_MODE_INPUT;
  GPIO_InitStruct.Pull = GPIO_NOPULL;
  HAL_GPIO_Init(GPIOC, &GPIO_InitStruct);

  /*Configure GPIO pins : PB2 PB10 PB5 */
  GPIO_InitStruct.Pin = GPIO_PIN_2|GPIO_PIN_10|GPIO_PIN_5;
  GPIO_InitStruct.Mode = GPIO_MODE_INPUT;
  GPIO_InitStruct.Pull = GPIO_NOPULL;
  HAL_GPIO_Init(GPIOB, &GPIO_InitStruct);

  /*Configure GPIO pin : SPI_SW_NSS_Pin */
  GPIO_InitStruct.Pin = SPI_SW_NSS_Pin;
  GPIO_InitStruct.Mode = GPIO_MODE_OUTPUT_PP;
  GPIO_InitStruct.Pull = GPIO_NOPULL;
  GPIO_InitStruct.Speed = GPIO_SPEED_FREQ_LOW;
  HAL_GPIO_Init(SPI_SW_NSS_GPIO_Port, &GPIO_InitStruct);

}

/* USER CODE BEGIN 4 */

void HAL_ADC_ConvCpltCallback(ADC_HandleTypeDef *hadc) {
	__disable_irq();
	HAL_ADC_Stop_DMA(hadc);
	ADC_FLAG_STATE_FSM = 1;
}

/* USER CODE END 4 */

void Error_Handler(void)
{
  __disable_irq();
  while (1)
  {
  }
}
